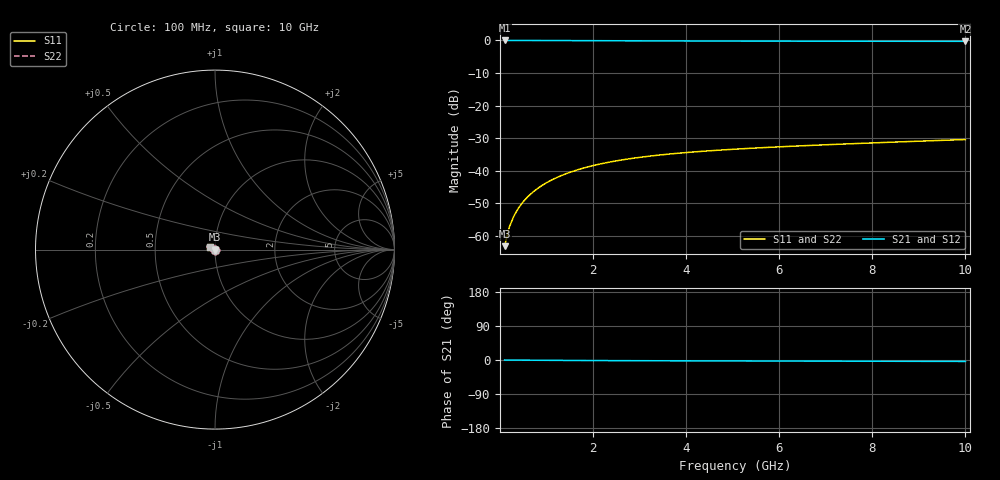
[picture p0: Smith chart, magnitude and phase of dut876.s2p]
! Touchstone file exported from HFSS 2024.1.0
!  File:  C:/UserFiles/LocalFiles/RDL_TSV_Batchsim/temp_TSV1_876_1779883270.aedt
!  Generated:  08:06:47 PM May 27, 2026
!  Design:  TSV1
!  Project:  temp_TSV1_876_1779883270
!  Setup:  Setup1
!  Solution:  Sweep
! Variables:
!  dtsv = 8.35um
!  hbump = 3um
!  htsv = 53.89um
!  lrdl = 252.1521522um
!  p = 40
!  p1 = 53.11um
!  t = 500um
!  trdl = 3um
!  wrdl = 24.89489489um
# GHz S MA R 50.000000
! Terminal data exported
! Port[1] = TSV22_T1
! Port[2] = TSV22_T2
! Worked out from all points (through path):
!   100 points, 100 MHz to 10 GHz, reference 50 ohm
!   highest |S21| = 0.00 dB at 100 MHz (marker M1); lowest = -0.3 dB at 10 GHz (marker M2)
!   lowest |S11| = -63.2 dB at 100 MHz (marker M3), VSWR 1.00, Z = 50 - j0.0677 ohm
!   |S11| at or under -10 dB: start of sweep to end of sweep
!   |S22| runs from -63.2 to -30.4 dB; largest |S21 - S12| = 3.6e-15
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0.1  0.0006916 -78.3  0.9998 -0.1  0.9998 -0.1  0.0006916 -78.3
! Gamma 0 0 0 0
! Port Impedance 50 0 50 0
0.2  0.001352 -87.3  0.9997 -0.2  0.9997 -0.2  0.001352 -87.3
0.3  0.002016 -91.8  0.9996 -0.3  0.9996 -0.3  0.002016 -91.8
0.4  0.002679 -95.2  0.9994 -0.3  0.9994 -0.3  0.002679 -95.2
0.5  0.003337 -98.0  0.9991 -0.4  0.9991 -0.4  0.003337 -98.0
0.6  0.00399 -100.6  0.9989 -0.5  0.9989 -0.5  0.00399 -100.6
0.7  0.004635 -103.1  0.9985 -0.6  0.9985 -0.6  0.004635 -103.1
0.8  0.005272 -105.4  0.9982 -0.7  0.9982 -0.7  0.005272 -105.4
0.9  0.005899 -107.7  0.9977 -0.7  0.9977 -0.7  0.005899 -107.7
1.1  0.007121 -112.0  0.9968 -0.9  0.9968 -0.9  0.007121 -112.0
1.4  0.008859 -118.1  0.9953 -1.1  0.9953 -1.1  0.008859 -118.1
1.6  0.009948 -122.0  0.9942 -1.2  0.9942 -1.2  0.009948 -122.0
1.8  0.01098 -125.7  0.993 -1.3  0.993 -1.3  0.01098 -125.7
2.1  0.01242 -131.0  0.9913 -1.5  0.9913 -1.5  0.01242 -131.0
2.5  0.01413 -137.6  0.989 -1.7  0.989 -1.7  0.01413 -137.6
2.9  0.01564 -143.7  0.9868 -1.8  0.9868 -1.8  0.01564 -143.7
3.4  0.01728 -150.6  0.9843 -2.0  0.9843 -2.0  0.01728 -150.6
4.2  0.01946 -160.3  0.9809 -2.3  0.9809 -2.3  0.01946 -160.3
5.1  0.02147 -169.7  0.9778 -2.5  0.9778 -2.5  0.02147 -169.7
6.7  0.02446 176.8  0.9741 -2.9  0.9741 -2.9  0.02446 176.8
8.4  0.02734 165.5  0.9716 -3.4  0.9716 -3.4  0.02734 165.5
10  0.03006 156.8  0.9699 -3.8  0.9699 -3.8  0.03006 156.8
